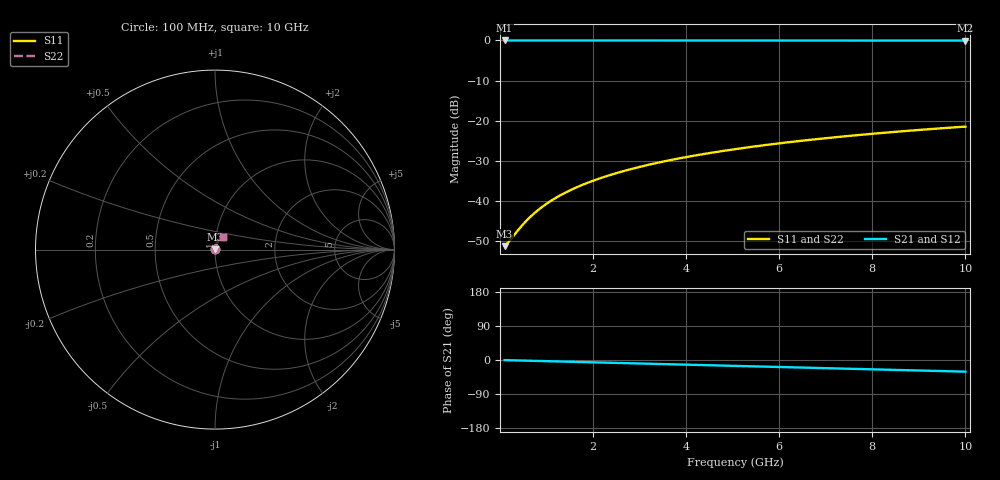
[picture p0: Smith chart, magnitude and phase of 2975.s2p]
# Hz S RI R 50.00
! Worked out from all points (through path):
!   100 points, 100 MHz to 10 GHz, reference 50 ohm
!   highest |S21| = -0.02 dB at 100 MHz (marker M1); lowest = -0.1 dB at 10 GHz (marker M2)
!   group delay of S21, straight-line fit = 8.56 ps
!   lowest |S11| = -51.2 dB at 100 MHz (marker M3), VSWR 1.01, Z = 50.3 + j0.0877 ohm
!   |S11| at or under -10 dB: start of sweep to end of sweep
!   |S22| runs from -51.2 to -21.5 dB; largest |S21 - S12| = 0
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1e8  0.0026 0.000873  0.9974 -0.00534  0.9974 -0.00534  0.0026 0.000873
2e8  0.00263 0.00175  0.9973 -0.0107  0.9973 -0.0107  0.00263 0.00175
4e8  0.00271 0.00349  0.9971 -0.0214  0.9971 -0.0214  0.00271 0.00349
5e8  0.00276 0.00436  0.997 -0.0267  0.997 -0.0267  0.00276 0.00436
6e8  0.00281 0.00523  0.9968 -0.032  0.9968 -0.032  0.00281 0.00523
7e8  0.00288 0.0061  0.9966 -0.0374  0.9966 -0.0374  0.00288 0.0061
9e8  0.00304 0.00784  0.9961 -0.0481  0.9961 -0.0481  0.00304 0.00784
1.1e9  0.00323 0.00957  0.9955 -0.0587  0.9955 -0.0587  0.00323 0.00957
1.3e9  0.00346 0.0113  0.9948 -0.0694  0.9948 -0.0694  0.00346 0.0113
1.5e9  0.00373 0.013  0.994 -0.08  0.994 -0.08  0.00373 0.013
1.8e9  0.0042 0.0156  0.9925 -0.096  0.9925 -0.096  0.0042 0.0156
2.1e9  0.00475 0.0182  0.9907 -0.112  0.9907 -0.112  0.00475 0.0182
2.5e9  0.00561 0.0215  0.988 -0.1332  0.988 -0.1332  0.00561 0.0215
2.9e9  0.00662 0.0249  0.9848 -0.1543  0.9848 -0.1543  0.00662 0.0249
3.4e9  0.00807 0.029  0.9802 -0.1807  0.9802 -0.1807  0.00807 0.029
4.2e9  0.0109 0.0353  0.9713 -0.2225  0.9713 -0.2225  0.0109 0.0353
5.1e9  0.0146 0.0422  0.959 -0.2691  0.959 -0.2691  0.0146 0.0422
5.9e9  0.0185 0.048  0.9462 -0.31  0.9462 -0.31  0.0185 0.048
6.7e9  0.0229 0.0534  0.9316 -0.3503  0.9316 -0.3503  0.0229 0.0534
7.5e9  0.0278 0.0584  0.9153 -0.3899  0.9153 -0.3899  0.0278 0.0584
8.4e9  0.0337 0.0635  0.8948 -0.4336  0.8948 -0.4336  0.0337 0.0635
1e10  0.0455 0.0712  0.8532 -0.5087  0.8532 -0.5087  0.0455 0.0712
